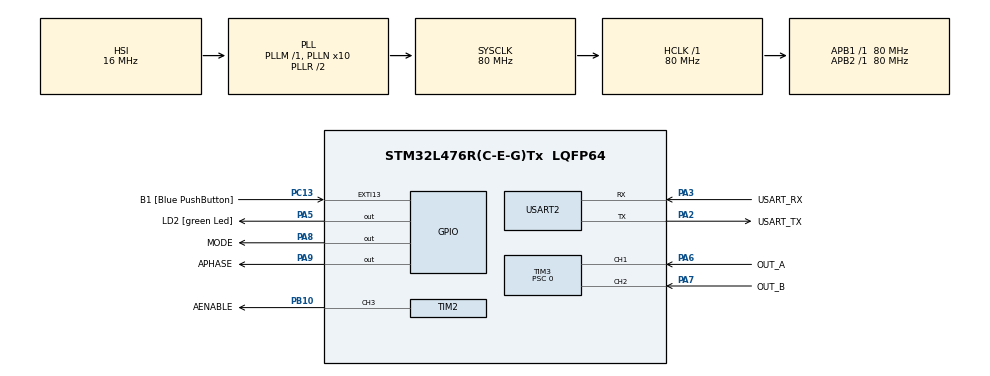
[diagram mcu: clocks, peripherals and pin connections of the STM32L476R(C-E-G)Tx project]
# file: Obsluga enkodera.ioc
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Mcu.Family=STM32L4
Mcu.Name=STM32L476R(C-E-G)Tx
Mcu.Package=LQFP64
NVIC.PriorityGroup=NVIC_PRIORITYGROUP_4
NVIC.TIM3_IRQn=true\:0\:0\:false\:false\:true\:true\:true
NVIC.TIM6_DAC_IRQn=true\:0\:0\:false\:false\:true\:true\:true
PA13\ (JTMS-SWDIO).GPIO_Label=TMS
PA13\ (JTMS-SWDIO).Mode=Serial_Wire
PA13\ (JTMS-SWDIO).Signal=SYS_JTMS-SWDIO
PA14\ (JTCK-SWCLK).GPIO_Label=TCK
PA14\ (JTCK-SWCLK).Mode=Serial_Wire
PA14\ (JTCK-SWCLK).Signal=SYS_JTCK-SWCLK
PA2.GPIO_Label=USART_TX
PA2.GPIO_Mode=GPIO_MODE_AF_PP
PA2.GPIO_PuPd=GPIO_NOPULL
PA2.GPIO_Speed=GPIO_SPEED_FREQ_VERY_HIGH
PA2.Mode=Asynchronous
PA2.Signal=USART2_TX
PA3.GPIO_Label=USART_RX
PA3.GPIO_Mode=GPIO_MODE_AF_PP
PA3.GPIO_PuPd=GPIO_NOPULL
PA3.GPIO_Speed=GPIO_SPEED_FREQ_VERY_HIGH
PA3.Mode=Asynchronous
PA3.Signal=USART2_RX
PA5.GPIO_Label=LD2 [green Led]
PA5.GPIO_ModeDefaultOutputPP=GPIO_MODE_OUTPUT_PP
PA5.GPIO_PuPd=GPIO_NOPULL
PA5.GPIO_Speed=GPIO_SPEED_FREQ_LOW
PA5.Signal=GPIO_Output
PA6.GPIO_Label=OUT_A
PA6.Signal=S_TIM3_CH1
PA7.GPIO_Label=OUT_B
PA7.Signal=S_TIM3_CH2
PA8.GPIO_Label=MODE
PA8.Signal=GPIO_Output
PA9.GPIO_Label=APHASE
PA9.Signal=GPIO_Output
PB10.GPIO_Label=AENABLE
PB10.Signal=S_TIM2_CH3
PB3\ (JTDO-TRACESWO).GPIO_Label=SWO
PB3\ (JTDO-TRACESWO).Signal=SYS_JTDO-SWO
PC13.GPIO_Label=B1 [Blue PushButton]
PC13.GPIO_ModeDefaultEXTI=GPIO_MODE_IT_FALLING
PC13.GPIO_PuPd=GPIO_NOPULL
PC13.Signal=GPXTI13
PC14-OSC32_IN\ (PC14).Mode=LSE-External-Oscillator
PC14-OSC32_IN\ (PC14).Signal=RCC_OSC32_IN
PC15-OSC32_OUT\ (PC15).Mode=LSE-External-Oscillator
PC15-OSC32_OUT\ (PC15).Signal=RCC_OSC32_OUT
PH0-OSC_IN\ (PH0).Signal=RCC_OSC_IN
PH1-OSC_OUT\ (PH1).Signal=RCC_OSC_OUT
ProjectManager.HeapSize=0x200
ProjectManager.StackSize=0x400
ProjectManager.TargetToolchain=STM32CubeIDE
RCC.ADCFreq_Value=64000000
RCC.AHBFreq_Value=80000000
RCC.APB1Freq_Value=80000000
RCC.APB1TimFreq_Value=80000000
RCC.APB2Freq_Value=80000000
RCC.APB2TimFreq_Value=80000000
RCC.CortexFreq_Value=80000000
RCC.HCLKFreq_Value=80000000
RCC.HSE_VALUE=8000000
RCC.HSI_VALUE=16000000
RCC.MSI_VALUE=4000000
RCC.PLLN=10
RCC.PLLSourceVirtual=RCC_PLLSOURCE_HSI
RCC.PREFETCH_ENABLE=1
RCC.SYSCLKFreq_VALUE=80000000
RCC.SYSCLKSource=RCC_SYSCLKSOURCE_PLLCLK
RCC.USBFreq_Value=64000000
RCC.VCOOutputFreq_Value=160000000
SH.S_TIM2_CH3.0=TIM2_CH3,PWM Generation3 CH3
SH.S_TIM3_CH1.0=TIM3_CH1,Encoder_Interface
SH.S_TIM3_CH2.0=TIM3_CH2,Encoder_Interface
TIM2.Channel-PWM\ Generation3\ CH3=TIM_CHANNEL_3
TIM2.Period=100-1
TIM2.Prescaler=40-1
TIM3.EncoderMode=TIM_ENCODERMODE_TI12
TIM3.IC1Filter=15
TIM3.IC1Polarity=TIM_ICPOLARITY_RISING
TIM3.IC2Filter=15
TIM3.Period=65535
TIM3.Prescaler=0
TIM6.Period=1000-1
TIM6.Prescaler=8000-1
USART2.VirtualMode-Asynchronous=VM_ASYNC
VP_TIM6_VS_ClockSourceINT.Mode=Enable_Timer
board=NUCLEO-L476RG

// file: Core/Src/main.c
/* USER CODE BEGIN Header */
/**
  ******************************************************************************
  * @file           : main.c
  * @brief          : Main program body
  ******************************************************************************
  * @attention
  *
  * <h2><center>&copy; Copyright (c) 2021 STMicroelectronics.
  * All rights reserved.</center></h2>
  *
  * This software component is licensed by ST under BSD 3-Clause license,
  * the "License"; You may not use this file except in compliance with the
  * License. You may obtain a copy of the License at:
  *                        opensource.org/licenses/BSD-3-Clause
  *
  ******************************************************************************
  */
/* USER CODE END Header */
#include "main.h"

TIM_HandleTypeDef htim2;
TIM_HandleTypeDef htim3;
TIM_HandleTypeDef htim6;

UART_HandleTypeDef huart2;

void SystemClock_Config(void);
static void MX_GPIO_Init(void);
static void MX_USART2_UART_Init(void);
static void MX_TIM3_Init(void);
static void MX_TIM2_Init(void);
static void MX_TIM6_Init(void);

/* USER CODE BEGIN 0 */
motor_str motorA;
/* USER CODE END 0 */

int main(void)
{

  /* MCU Configuration--------------------------------------------------------*/

  /* Reset of all peripherals, Initializes the Flash interface and the Systick. */
  HAL_Init();

  /* Configure the system clock */
  SystemClock_Config();

  /* Initialize all configured peripherals */
  MX_GPIO_Init();
  MX_USART2_UART_Init();
  MX_TIM3_Init();
  MX_TIM2_Init();
  MX_TIM6_Init();
  /* USER CODE BEGIN 2 */
  drv8835_init();
  motor_str_init(&motorA, &htim3);
  HAL_TIM_Encoder_Start(&htim3, TIM_CHANNEL_ALL);
  HAL_TIM_Base_Start_IT(&htim6);

  int pwm = 0, dir = CCW, inc_dec = 1;
  uint32_t time_tick = HAL_GetTick();
  uint32_t max_time = 20;

  drv8835_set_motorA_direction(dir);
  drv8835_set_motorA_speed(pwm);
  /* USER CODE END 2 */

  /* Infinite loop */
  /* USER CODE BEGIN WHILE */
  while (1)
  {
	  if((HAL_GetTick() - time_tick) > max_time)
	  {
		  time_tick = HAL_GetTick();

		  pwm += inc_dec;
		  drv8835_set_motorA_speed(pwm);

		  if(pwm >= 100)
		  {
			  inc_dec = -1;
			  max_time = 2000;
		  }
		  else if(pwm <= 0)
		  {
			  inc_dec = 1;

			  if(dir == CCW)
				  dir = CW;
			  else if(dir == CW)
				  dir = CCW;

			  drv8835_set_motorA_direction(dir);
		  }
		  else
		  {
			  max_time = 20;
		  }
	  }

    /* USER CODE END WHILE */

  }
}

void SystemClock_Config(void)
{
  RCC_OscInitTypeDef RCC_OscInitStruct = {0};
  RCC_ClkInitTypeDef RCC_ClkInitStruct = {0};
  RCC_PeriphCLKInitTypeDef PeriphClkInit = {0};

  /** Initializes the RCC Oscillators according to the specified parameters
  * in the RCC_OscInitTypeDef structure.
  */
  RCC_OscInitStruct.OscillatorType = RCC_OSCILLATORTYPE_HSI;
  RCC_OscInitStruct.HSIState = RCC_HSI_ON;
  RCC_OscInitStruct.HSICalibrationValue = RCC_HSICALIBRATION_DEFAULT;
  RCC_OscInitStruct.PLL.PLLState = RCC_PLL_ON;
  RCC_OscInitStruct.PLL.PLLSource = RCC_PLLSOURCE_HSI;
  RCC_OscInitStruct.PLL.PLLM = 1;
  RCC_OscInitStruct.PLL.PLLN = 10;
  RCC_OscInitStruct.PLL.PLLP = RCC_PLLP_DIV7;
  RCC_OscInitStruct.PLL.PLLQ = RCC_PLLQ_DIV2;
  RCC_OscInitStruct.PLL.PLLR = RCC_PLLR_DIV2;
  if (HAL_RCC_OscConfig(&RCC_OscInitStruct) != HAL_OK)
  {
    Error_Handler();
  }
  /** Initializes the CPU, AHB and APB buses clocks
  */
  RCC_ClkInitStruct.ClockType = RCC_CLOCKTYPE_HCLK|RCC_CLOCKTYPE_SYSCLK
                              |RCC_CLOCKTYPE_PCLK1|RCC_CLOCKTYPE_PCLK2;
  RCC_ClkInitStruct.SYSCLKSource = RCC_SYSCLKSOURCE_PLLCLK;
  RCC_ClkInitStruct.AHBCLKDivider = RCC_SYSCLK_DIV1;
  RCC_ClkInitStruct.APB1CLKDivider = RCC_HCLK_DIV1;
  RCC_ClkInitStruct.APB2CLKDivider = RCC_HCLK_DIV1;

  if (HAL_RCC_ClockConfig(&RCC_ClkInitStruct, FLASH_LATENCY_4) != HAL_OK)
  {
    Error_Handler();
  }
  PeriphClkInit.PeriphClockSelection = RCC_PERIPHCLK_USART2;
  PeriphClkInit.Usart2ClockSelection = RCC_USART2CLKSOURCE_PCLK1;
  if (HAL_RCCEx_PeriphCLKConfig(&PeriphClkInit) != HAL_OK)
  {
    Error_Handler();
  }
  /** Configure the main internal regulator output voltage
  */
  if (HAL_PWREx_ControlVoltageScaling(PWR_REGULATOR_VOLTAGE_SCALE1) != HAL_OK)
  {
    Error_Handler();
  }
}

static void MX_TIM2_Init(void)
{

  TIM_MasterConfigTypeDef sMasterConfig = {0};
  TIM_OC_InitTypeDef sConfigOC = {0};

  htim2.Instance = TIM2;
  htim2.Init.Prescaler = 40-1;
  htim2.Init.CounterMode = TIM_COUNTERMODE_UP;
  htim2.Init.Period = 100-1;
  htim2.Init.ClockDivision = TIM_CLOCKDIVISION_DIV1;
  htim2.Init.AutoReloadPreload = TIM_AUTORELOAD_PRELOAD_DISABLE;
  if (HAL_TIM_PWM_Init(&htim2) != HAL_OK)
  {
    Error_Handler();
  }
  sMasterConfig.MasterOutputTrigger = TIM_TRGO_RESET;
  sMasterConfig.MasterSlaveMode = TIM_MASTERSLAVEMODE_DISABLE;
  if (HAL_TIMEx_MasterConfigSynchronization(&htim2, &sMasterConfig) != HAL_OK)
  {
    Error_Handler();
  }
  sConfigOC.OCMode = TIM_OCMODE_PWM1;
  sConfigOC.Pulse = 0;
  sConfigOC.OCPolarity = TIM_OCPOLARITY_HIGH;
  sConfigOC.OCFastMode = TIM_OCFAST_DISABLE;
  if (HAL_TIM_PWM_ConfigChannel(&htim2, &sConfigOC, TIM_CHANNEL_3) != HAL_OK)
  {
    Error_Handler();
  }
  HAL_TIM_MspPostInit(&htim2);

}

static void MX_TIM3_Init(void)
{

  TIM_Encoder_InitTypeDef sConfig = {0};
  TIM_MasterConfigTypeDef sMasterConfig = {0};

  htim3.Instance = TIM3;
  htim3.Init.Prescaler = 0;
  htim3.Init.CounterMode = TIM_COUNTERMODE_UP;
  htim3.Init.Period = 65535;
  htim3.Init.ClockDivision = TIM_CLOCKDIVISION_DIV1;
  htim3.Init.AutoReloadPreload = TIM_AUTORELOAD_PRELOAD_DISABLE;
  sConfig.EncoderMode = TIM_ENCODERMODE_TI12;
  sConfig.IC1Polarity = TIM_ICPOLARITY_RISING;
  sConfig.IC1Selection = TIM_ICSELECTION_DIRECTTI;
  sConfig.IC1Prescaler = TIM_ICPSC_DIV1;
  sConfig.IC1Filter = 15;
  sConfig.IC2Polarity = TIM_ICPOLARITY_RISING;
  sConfig.IC2Selection = TIM_ICSELECTION_DIRECTTI;
  sConfig.IC2Prescaler = TIM_ICPSC_DIV1;
  sConfig.IC2Filter = 15;
  if (HAL_TIM_Encoder_Init(&htim3, &sConfig) != HAL_OK)
  {
    Error_Handler();
  }
  sMasterConfig.MasterOutputTrigger = TIM_TRGO_RESET;
  sMasterConfig.MasterSlaveMode = TIM_MASTERSLAVEMODE_DISABLE;
  if (HAL_TIMEx_MasterConfigSynchronization(&htim3, &sMasterConfig) != HAL_OK)
  {
    Error_Handler();
  }

}

static void MX_TIM6_Init(void)
{

  TIM_MasterConfigTypeDef sMasterConfig = {0};

  htim6.Instance = TIM6;
  htim6.Init.Prescaler = 8000-1;
  htim6.Init.CounterMode = TIM_COUNTERMODE_UP;
  htim6.Init.Period = 1000-1;
  htim6.Init.AutoReloadPreload = TIM_AUTORELOAD_PRELOAD_DISABLE;
  if (HAL_TIM_Base_Init(&htim6) != HAL_OK)
  {
    Error_Handler();
  }
  sMasterConfig.MasterOutputTrigger = TIM_TRGO_RESET;
  sMasterConfig.MasterSlaveMode = TIM_MASTERSLAVEMODE_DISABLE;
  if (HAL_TIMEx_MasterConfigSynchronization(&htim6, &sMasterConfig) != HAL_OK)
  {
    Error_Handler();
  }

}

static void MX_USART2_UART_Init(void)
{

  huart2.Instance = USART2;
  huart2.Init.BaudRate = 115200;
  huart2.Init.WordLength = UART_WORDLENGTH_8B;
  huart2.Init.StopBits = UART_STOPBITS_1;
  huart2.Init.Parity = UART_PARITY_NONE;
  huart2.Init.Mode = UART_MODE_TX_RX;
  huart2.Init.HwFlowCtl = UART_HWCONTROL_NONE;
  huart2.Init.OverSampling = UART_OVERSAMPLING_16;
  huart2.Init.OneBitSampling = UART_ONE_BIT_SAMPLE_DISABLE;
  huart2.AdvancedInit.AdvFeatureInit = UART_ADVFEATURE_NO_INIT;
  if (HAL_UART_Init(&huart2) != HAL_OK)
  {
    Error_Handler();
  }

}

static void MX_GPIO_Init(void)
{
  GPIO_InitTypeDef GPIO_InitStruct = {0};

  /* GPIO Ports Clock Enable */
  __HAL_RCC_GPIOC_CLK_ENABLE();
  __HAL_RCC_GPIOH_CLK_ENABLE();
  __HAL_RCC_GPIOA_CLK_ENABLE();
  __HAL_RCC_GPIOB_CLK_ENABLE();

  /*Configure GPIO pin Output Level */
  HAL_GPIO_WritePin(GPIOA, LD2_Pin|MODE_Pin|APHASE_Pin, GPIO_PIN_RESET);

  /*Configure GPIO pin : B1_Pin */
  GPIO_InitStruct.Pin = B1_Pin;
  GPIO_InitStruct.Mode = GPIO_MODE_IT_FALLING;
  GPIO_InitStruct.Pull = GPIO_NOPULL;
  HAL_GPIO_Init(B1_GPIO_Port, &GPIO_InitStruct);

  /*Configure GPIO pins : LD2_Pin MODE_Pin APHASE_Pin */
  GPIO_InitStruct.Pin = LD2_Pin|MODE_Pin|APHASE_Pin;
  GPIO_InitStruct.Mode = GPIO_MODE_OUTPUT_PP;
  GPIO_InitStruct.Pull = GPIO_NOPULL;
  GPIO_InitStruct.Speed = GPIO_SPEED_FREQ_LOW;
  HAL_GPIO_Init(GPIOA, &GPIO_InitStruct);

}

/* USER CODE BEGIN 4 */
void HAL_TIM_PeriodElapsedCallback(TIM_HandleTypeDef *htim)
{
	if(htim->Instance == TIM6)
	{
		motor_calculate_speed(&motorA);
	}
}
/* USER CODE END 4 */

void Error_Handler(void)
{
}

/************************ (C) COPYRIGHT STMicroelectronics *****END OF FILE****/
